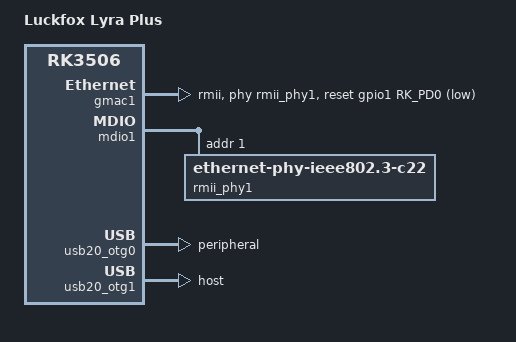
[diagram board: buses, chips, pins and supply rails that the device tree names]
// SPDX-License-Identifier: (GPL-2.0+ OR MIT)
/*
 * Copyright (c) 2024 Rockchip Electronics Co., Ltd.
 */

/dts-v1/;

#include "rk3506-luckfox-lyra.dtsi"

/ {
	model = "Luckfox Lyra Plus";
	compatible = "rockchip,rk3506g-lyra-plus", "rockchip,rk3506g-demo-display-control", "rockchip,rk3506";

	mcu_rproc: mcu@fff84000 {
		compatible = "rockchip,rk3506-mcu";
		reg = <0xfff84000 0x8000>;
		firmware-name = "rk3506-m0.elf";
		mboxes = <&mailbox3 0>;
		mbox-names = "rpmsg";
		memory-region = <&vdev0vring0>, <&vdev0vring1>, <&vdev0buffer>;

    /* for now include the clocks also that required by the MCU FW */
		clocks = <&cru HCLK_M0>, <&cru STCLK_M0>,
		         <&cru PCLK_TIMER>, <&cru CLK_TIMER0_CH5>,
						 <&cru SCLK_UART4>, <&cru PCLK_UART4>,
						 <&cru CLK_SARADC>, <&cru PCLK_SARADC>;

		resets = <&cru SRST_H_M0>, <&cru SRST_M0_JTAG>, <&cru SRST_HRESETN_M0_AC>;
		reset-names = "h_m0", "m0_jtag", "hresetn_m0_ac";
	};
};

&reserved_memory {
	/* remote amp core address */
	amp_shmem_reserved: amp-shmem@3b00000 {
		reg = <0x03b00000 0x100000>;
    no-map;
	};

	rpmsg_reserved: rpmsg@3c00000 {
		reg = <0x03c00000 0x100000>;
    no-map;
	};

	rpmsg_dma_reserved: rpmsg-dma@3d00000 {
		compatible = "shared-dma-pool";
		reg = <0x03d00000 0x100000>;
    no-map;
	};

  amp_reserved: amp@3e00000 {
		reg = <0x3e00000 0x100000>;
		no-map;
	};

	/* mcu address */
	tee_reserved: tee@fff80000 {
		reg = <0xfff80000 0x1000>;
		no-map;
	};

	vdev0vring0: vdev0vring0@fff81000 {
		reg = <0xfff81000 0x1000>;
		no-map;
	};

	vdev0vring1: vdev0vring1@fff82000 {
		reg = <0xfff82000 0x1000>;
		no-map;
	};

	vdev0buffer: vdev0buffer@fff83000 {
		compatible = "shared-dma-pool";
		reg = <0xfff83000 0x1000>;
		no-map;
	};

	m0_tcm_reserved: mcu-tcm@fff84000 {
		reg = <0xfff84000 0x8000>;
		no-map;
	};
};

&mailbox3 {
	rockchip,txdone-irq;
	status = "okay";
};


/**********display**********/
&cma {
	size = <0x200000>;
};

&dsi {
	status = "disabled";
};

&dsi_dphy {
	status = "disabled";
};

&dsi_in_vop {
	status = "disabled";
};

&route_dsi {
	status = "disabled";
};

/**********ethernet**********/
&gmac1 {
	phy-mode = "rmii";
	clock_in_out = "output";

	snps,reset-gpio = <&gpio1 RK_PD0 GPIO_ACTIVE_LOW>;
	snps,reset-active-low;
	snps,reset-delays-us = <0 20000 100000>;

	pinctrl-names = "default";
	pinctrl-0 = <&eth_rmii1_miim_pins &eth_rmii1_tx_bus2_pins &eth_rmii1_rx_bus2_pins &eth_rmii1_clk_pins>;

	phy-handle = <&rmii_phy1>;
	status = "okay";
};

&mdio1 {
	rmii_phy1: phy@1 {
		compatible = "ethernet-phy-ieee802.3-c22";
		reg = <0x1>;
	};
};

/**********usb**********/
&usb20_otg0 {
	dr_mode = "peripheral";
	status = "okay";
};

&usb20_otg1 {
	dr_mode = "host";
	status = "okay";
};
